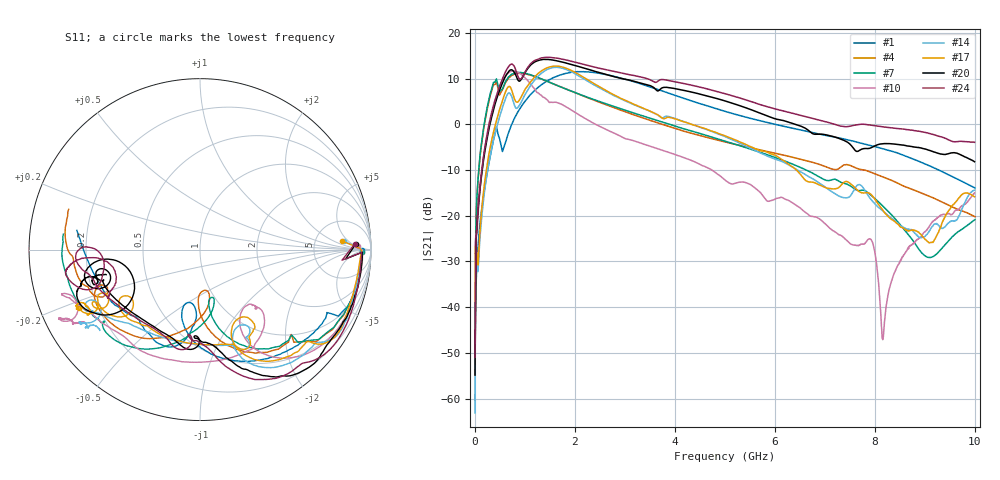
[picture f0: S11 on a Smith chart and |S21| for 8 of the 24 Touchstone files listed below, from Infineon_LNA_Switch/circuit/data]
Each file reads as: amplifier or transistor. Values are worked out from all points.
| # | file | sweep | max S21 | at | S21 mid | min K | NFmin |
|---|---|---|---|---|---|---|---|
| 1 | BGM7xMxx4L12_LNA2_2p8V.s2p | 10 MHz to 10.01 GHz | 11.6 dB | 2.11 GHz | 2.9 dB at 5.01 GHz | -1.13 | 0.66 dB |
| 2 | BGM7xxHx4L12_LNA3_1p8V.s2p | 10 MHz to 10.01 GHz | 10.6 dB | 2.77 GHz | 1.7 dB at 5.01 GHz | 0.89 | 0.70 dB |
| 3 | BGM7xxHx4L12_LNA3_2p8V.s2p | 10 MHz to 10.01 GHz | 10.8 dB | 2.77 GHz | 1.9 dB at 5.01 GHz | 1.13 | 0.70 dB |
| 4 | BGM7xxLx4L12_LNA3_1p8V.s2p | 10 MHz to 10.01 GHz | 11.2 dB | 910 MHz | -3.8 dB at 5.01 GHz | 1.15 | 0.64 dB |
| 5 | BGM7xxLx4L12_LNA3_2p8V.s2p | 10 MHz to 10.01 GHz | 11.3 dB | 910 MHz | -3.7 dB at 5.01 GHz | -2.89 | 0.64 dB |
| 6 | BGM7xxxL4L12_LNA4_1p8V.s2p | 10 MHz to 10.01 GHz | 11.3 dB | 850 MHz | -3.8 dB at 5.01 GHz | -1.71 | 0.65 dB |
| 7 | BGM7xxxL4L12_LNA4_2p8V.s2p | 10 MHz to 10.01 GHz | 11.4 dB | 850 MHz | -3.7 dB at 5.01 GHz | 0.22 | 0.65 dB |
| 8 | BGM7xxxM4L12_LNA4_1p8V.s2p | 10 MHz to 10.01 GHz | 11.3 dB | 1.99 GHz | 2.8 dB at 5.01 GHz | -1.10 | 0.69 dB |
| 9 | BGM7xxxM4L12_LNA4_2p8V.s2p | 10 MHz to 10.01 GHz | 11.4 dB | 1.99 GHz | 3.0 dB at 5.01 GHz | -1.31 | 0.69 dB |
| 10 | BGM12LBA9_RX1_1P8V_HG.S2P | 300 kHz to 10 GHz | 11.7 dB | 775.3 MHz | -12.1 dB at 5 GHz | 1.21 | 0.68 dB |
| 11 | BGM12LBA9_RX1_2P8V_HG.S2P | 300 kHz to 10 GHz | 11.9 dB | 775.3 MHz | -11.9 dB at 5 GHz | 1.23 | 0.69 dB |
| 12 | BGM12LBA9_RX2_1P8V_HG.S2P | 300 kHz to 10 GHz | 11.7 dB | 775.3 MHz | -11.2 dB at 5 GHz | 1.19 | 0.67 dB |
| 13 | BGM12LBA9_RX2_2P8V_HG.S2P | 300 kHz to 10 GHz | 11.9 dB | 787.8 MHz | -11.0 dB at 5 GHz | 1.21 | 0.68 dB |
| 14 | BGM13GBA9_RX1_1P8V_HG.S2P | 300 kHz to 10 GHz | 12.5 dB | 1.63 GHz | -2.6 dB at 5 GHz | 1.25 | 0.67 dB |
| 15 | BGM13GBA9_RX1_2P8V_HG.S2P | 300 kHz to 10 GHz | 12.7 dB | 1.63 GHz | -2.4 dB at 5 GHz | 1.29 | 0.68 dB |
| 16 | BGM13GBA9_RX2_1P8V_HG.S2P | 300 kHz to 10 GHz | 12.6 dB | 1.6 GHz | -2.6 dB at 5 GHz | 1.28 | 0.67 dB |
| 17 | BGM13GBA9_RX2_2P8V_HG.S2P | 300 kHz to 10 GHz | 12.8 dB | 1.63 GHz | -2.4 dB at 5 GHz | 1.31 | 0.68 dB |
| 18 | BGM13GBA9_RX3_1P8V_HG.S2P | 300 kHz to 10 GHz | 12.4 dB | 1.63 GHz | -2.0 dB at 5 GHz | 1.10 | 0.62 dB |
| 19 | BGM13GBA9_RX3_2P8V_HG.S2P | 300 kHz to 10 GHz | 12.6 dB | 1.63 GHz | -1.8 dB at 5 GHz | 1.27 | 0.63 dB |
| 20 | BGM13HBA9_RX1_1P8V_HG.S2P | 300 kHz to 10 GHz | 14.2 dB | 1.42 GHz | 5.2 dB at 5 GHz | 1.24 | 0.75 dB |
| 21 | BGM13HBA9_RX1_2P8V_HG.S2P | 300 kHz to 10 GHz | 14.5 dB | 1.37 GHz | 5.5 dB at 5 GHz | 1.18 | 0.76 dB |
| 22 | BGM13HBA9_RX2_1P8V_HG.S2P | 300 kHz to 10 GHz | 14.7 dB | 1.46 GHz | 5.8 dB at 5 GHz | 1.36 | 0.75 dB |
| 23 | BGM13HBA9_RX2_2P8V_HG.S2P | 300 kHz to 10 GHz | 14.9 dB | 1.46 GHz | 6.1 dB at 5 GHz | 1.35 | 0.76 dB |
| 24 | BGM13HBA9_RX3_1P8V_HG.S2P | 300 kHz to 10 GHz | 14.7 dB | 1.46 GHz | 6.7 dB at 5 GHz | 0.87 | 0.74 dB |

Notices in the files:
Librerias/Infineon/BGB741L7ESDE6327XTSA1/Infineon_LNA_Switch/circuit/data/BGM7xMxx4L12_LNA2_2p8V.s2p:
(c) 2014 Infineon Technologies AG
